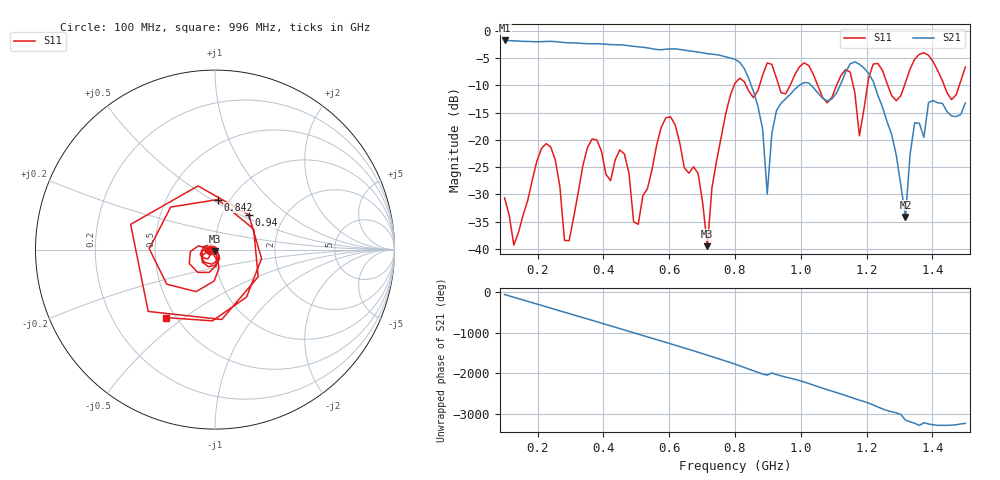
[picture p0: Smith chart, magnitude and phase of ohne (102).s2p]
! NanoVNA-App
! Date: 2025-09-26 09:56:11
! Start: 100MHz Stop: 1,5GHz Points: 101
! S-Parameter data: F S11 S21 S12 S22
# Hz S RI R 50
!  Frequency  S11_Real  S11_Imag  S21_Real  S21_Imag  S12_Real  S12_Imag  S22_Real  S22_Imag
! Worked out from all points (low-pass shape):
!   101 points, 100 MHz to 1.5 GHz, reference 50 ohm
!   highest |S21| = -1.79 dB at 100 MHz (marker M1); lowest = -34.1 dB at 1.318 GHz (marker M2)
!   |S21| within 3 dB of the highest: start of sweep to 771.7 MHz
!   lowest |S11| = -39.5 dB at 716 MHz (marker M3), VSWR 1.02, Z = 49.7 - j1.03 ohm
!   |S11| at or under -10 dB: start of sweep to 797.5 MHz; 833.4 MHz to 874.7 MHz (41.22 MHz wide, 4.83 % of centre); 1.051 GHz to 1.109 GHz (57.57 MHz wide, 5.33 % of centre) (the widest 3 of 7)
!   S12 and S22 are empty: the file has one direction only
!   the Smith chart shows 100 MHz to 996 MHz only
!   S11 on the Smith chart (normalised r, x): 100 MHz: 0.94, -0.01; 842 MHz: 0.88, +0.53; 940 MHz: 1.33, +0.56; 996 MHz: 0.44, -0.43
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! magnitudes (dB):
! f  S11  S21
! 100 MHz  -30.6  -1.8
! 128 MHz  -39.3  -1.9
! 226 MHz  -20.7  -2.0
! 296 MHz  -38.5  -2.2
! 338 MHz  -24.7  -2.3
! 464 MHz  -22.6  -2.6
! 506 MHz  -35.5  -3.0
! 576 MHz  -17.7  -3.5
! 716 MHz  -39.5  -4.2
! 800 MHz  -9.6  -5.2
! 842 MHz  -11.1  -8.8
! 898 MHz  -5.9  -30.0
! 940 MHz  -11.4  -13.3
! 996 MHz  -6.6  -10.0
! 1.038 GHz  -8.0  -10.4
! 1.15 GHz  -7.6  -6.1
! 1.178 GHz  -19.3  -6.1
! 1.22 GHz  -6.1  -9.3
! 1.276 GHz  -11.9  -19.0
! 1.318 GHz  -9.5  -34.1
! 1.346 GHz  -5.2  -16.9
! 1.5 GHz  -6.7  -13.2
